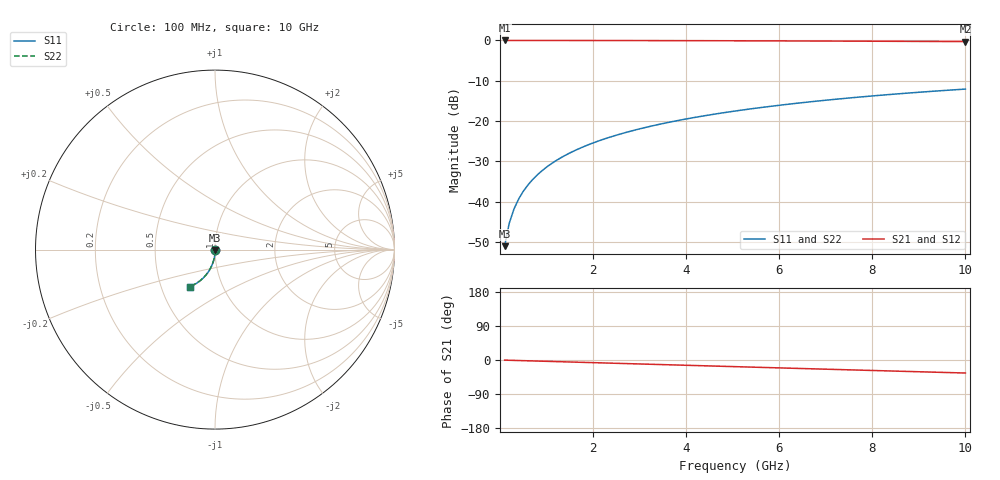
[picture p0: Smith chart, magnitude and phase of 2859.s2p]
# Hz S RI R 50.00
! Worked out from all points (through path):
!   100 points, 100 MHz to 10 GHz, reference 50 ohm
!   highest |S21| = -0.01 dB at 100 MHz (marker M1); lowest = -0.3 dB at 10 GHz (marker M2)
!   group delay of S21, straight-line fit = 9.56 ps
!   lowest |S11| = -51.0 dB at 100 MHz (marker M3), VSWR 1.01, Z = 50.1 - j0.269 ohm
!   |S11| at or under -10 dB: start of sweep to end of sweep
!   |S22| runs from -51.0 to -12.1 dB; largest |S21 - S12| = 0
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1e8  0.000824 -0.00269  0.9991 -0.00608  0.9991 -0.00608  0.000824 -0.00269
2e8  0.000777 -0.00537  0.9991 -0.0122  0.9991 -0.0122  0.000777 -0.00537
3e8  0.000695 -0.00806  0.9989 -0.0182  0.9989 -0.0182  0.000695 -0.00806
4e8  0.00058 -0.0107  0.9988 -0.0243  0.9988 -0.0243  0.00058 -0.0107
5e8  0.000432 -0.0134  0.9986 -0.0304  0.9986 -0.0304  0.000432 -0.0134
6e8  0.000251 -0.0161  0.9983 -0.0364  0.9983 -0.0364  0.000251 -0.0161
7e8  3.7e-05 -0.0188  0.998 -0.0425  0.998 -0.0425  3.7e-05 -0.0188
8e8  -0.00021 -0.0215  0.9977 -0.0486  0.9977 -0.0486  -0.00021 -0.0215
9e8  -0.000489 -0.0241  0.9973 -0.0546  0.9973 -0.0546  -0.000489 -0.0241
1.1e9  -0.00115 -0.0295  0.9964 -0.0668  0.9964 -0.0668  -0.00115 -0.0295
1.4e9  -0.00237 -0.0375  0.9947 -0.0849  0.9947 -0.0849  -0.00237 -0.0375
1.8e9  -0.00446 -0.048  0.9919 -0.109  0.9919 -0.109  -0.00446 -0.048
2.1e9  -0.00636 -0.0558  0.9893 -0.127  0.9893 -0.127  -0.00636 -0.0558
2.5e9  -0.00933 -0.0662  0.9853 -0.1509  0.9853 -0.1509  -0.00933 -0.0662
2.9e9  -0.0128 -0.0763  0.9805 -0.1747  0.9805 -0.1747  -0.0128 -0.0763
3.4e9  -0.0178 -0.0888  0.9737 -0.2041  0.9737 -0.2041  -0.0178 -0.0888
4.2e9  -0.0274 -0.1079  0.9606 -0.2504  0.9606 -0.2504  -0.0274 -0.1079
5.1e9  -0.0402 -0.1282  0.9428 -0.3013  0.9428 -0.3013  -0.0402 -0.1282
5.9e9  -0.0534 -0.145  0.9244 -0.3452  0.9244 -0.3452  -0.0534 -0.145
6.7e9  -0.068 -0.1603  0.9038 -0.3877  0.9038 -0.3877  -0.068 -0.1603
8.4e9  -0.1032 -0.1876  0.8532 -0.4728  0.8532 -0.4728  -0.1032 -0.1876
1e10  -0.1402 -0.2061  0.7982 -0.5457  0.7982 -0.5457  -0.1402 -0.2061
